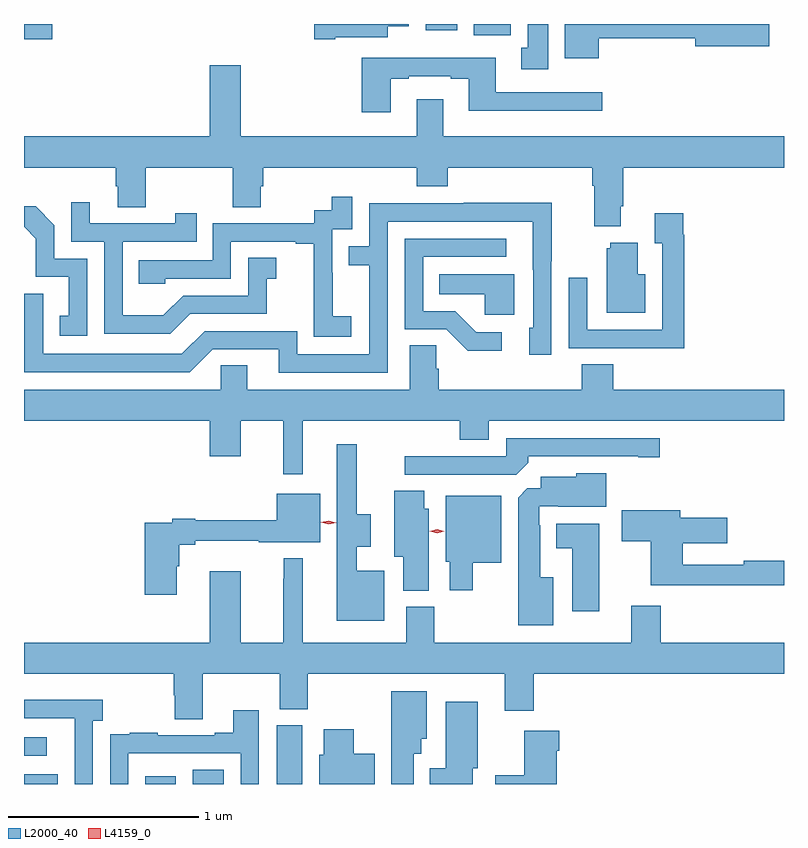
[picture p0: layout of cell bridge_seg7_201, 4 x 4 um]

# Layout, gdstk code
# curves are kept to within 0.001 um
import gdstk
lib = gdstk.Library(unit=1e-6, precision=1e-09)
def R(c, l, rs):  # rectangles x0, y0, x1, y1
    for r in rs: c.add(gdstk.rectangle(r[:2], r[2:], *l))
def P(c, l, *ps):  # polygons
    for p in ps: c.add(gdstk.Polygon(p, *l))
L2000_40 = (2000, 40)
L4159_0 = (4159, 0)

bridge_seg7_201 = lib.new_cell('bridge_seg7_201')
R(bridge_seg7_201, L2000_40, [(116.079,1054.648,116.257,1054.699), (116.717,1054.648,116.878,1054.69), (116.966,1054.648,117.13,1054.724), (117.41,1054.648,117.544,1054.956), (116.079,1054.797,116.2,1054.893), (116.079,1058.567,116.227,1058.648), (118.445,1058.588,118.642,1058.648), (118.193,1058.616,118.36,1058.648)])
P(bridge_seg7_201, L2000_40, [(119.104,1058.572),(119.612,1058.572),(119.612,1058.53),(120.001,1058.53),(120.001,1058.648),(118.925,1058.648),(118.925,1058.468),(119.104,1058.468)],
  [(118.837,1058.648),(118.73,1058.648),(118.73,1058.522),(118.697,1058.522),(118.697,1058.409),(118.837,1058.409)],
  [(117.718,1058.579),(117.994,1058.579),(117.994,1058.636),(118.105,1058.636),(118.105,1058.648),(117.606,1058.648),(117.606,1058.567),(117.718,1058.567)],
  [(118.009,1058.361),(118.105,1058.361),(118.105,1058.373),(118.325,1058.373),(118.325,1058.361),(118.421,1058.361),(118.421,1058.192),(119.122,1058.192),(119.122,1058.289),(118.561,1058.289),(118.561,1058.47),(117.857,1058.47),(117.857,1058.184),(118.009,1058.184)],
  [(119.221,1057.69),(119.234,1057.69),(119.234,1057.892),(120.079,1057.892),(120.079,1058.056),(118.285,1058.056),(118.285,1058.251),(118.145,1058.251),(118.145,1058.056),(117.22,1058.056),(117.22,1058.431),(117.056,1058.431),(117.056,1058.056),(116.079,1058.056),(116.079,1057.892),(116.561,1057.892),(116.561,1057.794),(116.573,1057.794),(116.573,1057.684),(116.721,1057.684),(116.721,1057.892),(117.178,1057.892),(117.178,1057.684),(117.325,1057.684),(117.325,1057.794),(117.338,1057.794),(117.338,1057.892),(118.145,1057.892),(118.145,1057.793),(118.31,1057.793),(118.31,1057.892),(119.069,1057.892),(119.069,1057.796),(119.081,1057.796),(119.081,1057.583),(119.221,1057.583)],
  [(117.802,1057.111),(117.704,1057.111),(117.704,1057.34),(117.702,1057.34),(117.702,1057.569),(117.807,1057.569),(117.807,1057.738),(117.699,1057.738),(117.699,1057.668),(117.606,1057.668),(117.606,1057.599),(117.072,1057.599),(117.072,1057.404),(116.683,1057.404),(116.683,1057.281),(116.823,1057.281),(116.823,1057.308),(117.168,1057.308),(117.168,1057.503),(117.509,1057.503),(117.509,1057.491),(117.605,1057.491),(117.605,1057.207),(117.604,1057.207),(117.604,1057.001),(117.802,1057.001)],
  [(116.953,1057.122),(117.357,1057.122),(117.357,1057.307),(117.406,1057.307),(117.406,1057.417),(117.258,1057.417),(117.258,1057.218),(116.916,1057.218),(116.812,1057.114),(116.598,1057.114),(116.598,1057.503),(116.987,1057.503),(116.987,1057.651),(116.876,1057.651),(116.876,1057.599),(116.425,1057.599),(116.425,1057.711),(116.328,1057.711),(116.328,1057.503),(116.502,1057.503),(116.502,1057.017),(116.848,1057.017)],
  [(117.993,1057.608),(118.757,1057.608),(118.758,1057.05),(118.739,1057.05),(118.739,1056.906),(118.854,1056.906),(118.854,1057.399),(118.857,1057.399),(118.857,1057.706),(118.393,1057.706),(118.393,1057.704),(117.897,1057.704),(117.897,1057.479),(117.787,1057.479),(117.787,1057.378),(117.897,1057.378),(117.897,1056.909),(117.516,1056.909),(117.516,1057.032),(117.03,1057.032),(116.91,1056.912),(116.181,1056.912),(116.181,1057.227),(116.079,1057.227),(116.079,1056.816),(116.952,1056.816),(117.072,1056.936),(117.419,1056.936),(117.419,1056.813),(117.993,1056.813)],
  [(116.412,1057.413),(116.238,1057.413),(116.238,1057.59),(116.14,1057.688),(116.079,1057.688),(116.079,1057.581),(116.142,1057.518),(116.142,1057.317),(116.315,1057.317),(116.315,1057.113),(116.266,1057.113),(116.266,1057.008),(116.412,1057.008)],
  [(119.555,1057.538),(119.548,1057.538),(119.548,1057.651),(119.399,1057.651),(119.399,1057.495),(119.439,1057.495),(119.439,1057.038),(119.043,1057.038),(119.043,1057.312),(118.947,1057.312),(118.947,1056.942),(119.263,1056.942),(119.263,1056.941),(119.555,1056.941)],
  [(118.594,1057.026),(118.459,1057.026),(118.348,1057.137),(118.179,1057.137),(118.179,1057.422),(118.618,1057.422),(118.618,1057.518),(118.083,1057.518),(118.083,1057.041),(118.302,1057.041),(118.415,1056.929),(118.594,1056.929)],
  [(119.35,1057.33),(119.308,1057.33),(119.308,1057.498),(119.165,1057.498),(119.165,1057.467),(119.147,1057.467),(119.147,1057.127),(119.35,1057.127)],
  [(118.66,1057.33),(118.264,1057.33),(118.264,1057.226),(118.503,1057.226),(118.503,1057.118),(118.66,1057.118)],
  [(117.547,1056.56),(118.373,1056.56),(118.373,1056.461),(118.525,1056.461),(118.525,1056.56),(120.079,1056.56),(120.079,1056.724),(119.18,1056.724),(119.18,1056.857),(119.015,1056.857),(119.015,1056.724),(118.262,1056.724),(118.262,1056.833),(118.248,1056.833),(118.248,1056.956),(118.109,1056.956),(118.109,1056.724),(117.253,1056.724),(117.253,1056.851),(117.114,1056.851),(117.114,1056.724),(116.079,1056.724),(116.079,1056.56),(117.056,1056.56),(117.056,1056.372),(117.22,1056.372),(117.22,1056.56),(117.443,1056.56),(117.443,1056.279),(117.547,1056.279)],
  [(118.733,1056.338),(118.733,1056.372),(119.312,1056.372),(119.312,1056.367),(119.425,1056.367),(119.425,1056.468),(118.617,1056.468),(118.617,1056.372),(118.083,1056.372),(118.083,1056.276),(118.671,1056.276)],
  [(117.976,1055.77),(117.829,1055.77),(117.829,1055.897),(117.904,1055.897),(117.904,1056.068),(117.829,1056.068),(117.829,1056.436),(117.725,1056.436),(117.725,1055.507),(117.976,1055.507)],
  [(118.864,1055.737),(118.795,1055.737),(118.795,1056.011),(118.791,1056.011),(118.791,1056.111),(118.891,1056.111),(118.891,1056.107),(119.143,1056.107),(119.143,1056.283),(118.986,1056.283),(118.986,1056.265),(118.799,1056.265),(118.799,1056.204),(118.728,1056.204),(118.679,1056.155),(118.679,1055.483),(118.864,1055.483)],
  [(118.21,1056.096),(118.186,1056.096),(118.186,1056.191),(118.028,1056.191),(118.028,1055.843),(118.076,1055.843),(118.076,1055.665),(118.21,1055.665)],
  [(116.884,1055.793),(116.897,1055.793),(116.897,1055.908),(116.98,1055.908),(116.98,1055.927),(117.314,1055.927),(117.314,1055.921),(117.637,1055.921),(117.637,1056.175),(117.41,1056.175),(117.41,1056.037),(116.98,1056.037),(116.98,1056.044),(116.86,1056.044),(116.86,1056.024),(116.714,1056.024),(116.714,1055.643),(116.884,1055.643)],
  [(118.441,1055.813),(118.591,1055.813),(118.591,1056.166),(118.298,1056.166),(118.298,1055.817),(118.319,1055.817),(118.319,1055.667),(118.441,1055.667)],
  [(120.079,1055.822),(119.866,1055.822),(119.866,1055.802),(119.546,1055.802),(119.546,1055.915),(119.779,1055.915),(119.779,1056.05),(119.533,1056.05),(119.533,1056.088),(119.226,1056.088),(119.226,1055.926),(119.378,1055.926),(119.378,1055.694),(120.079,1055.694)],
  [(119.107,1056.019),(118.88,1056.019),(118.88,1055.888),(118.964,1055.888),(118.964,1055.556),(119.107,1055.556)],
  [(117.019,1055.228),(117.425,1055.228),(117.425,1055.041),(117.573,1055.041),(117.573,1055.228),(118.61,1055.228),(118.61,1055.034),(118.763,1055.034),(118.763,1055.228),(120.079,1055.228),(120.079,1055.392),(119.429,1055.392),(119.429,1055.587),(119.276,1055.587),(119.276,1055.392),(118.239,1055.392),(118.239,1055.58),(118.091,1055.58),(118.091,1055.392),(117.547,1055.392),(117.547,1055.836),(117.445,1055.836),(117.445,1055.729),(117.443,1055.729),(117.443,1055.392),(117.22,1055.392),(117.22,1055.767),(117.056,1055.767),(117.056,1055.392),(116.079,1055.392),(116.079,1055.228),(116.867,1055.228),(116.867,1055.115),(116.872,1055.115),(116.872,1054.99),(117.019,1054.99)],
  [(118.129,1054.806),(118.171,1054.806),(118.171,1054.887),(118.198,1054.887),(118.198,1055.137),(118.013,1055.137),(118.013,1054.648),(118.129,1054.648)],
  [(116.442,1054.982),(116.494,1054.982),(116.494,1055.092),(116.079,1055.092),(116.079,1054.995),(116.345,1054.995),(116.345,1054.795),(116.346,1054.795),(116.346,1054.648),(116.442,1054.648)],
  [(118.441,1054.731),(118.468,1054.731),(118.468,1055.08),(118.298,1055.08),(118.298,1054.731),(118.214,1054.731),(118.214,1054.648),(118.441,1054.648)],
  [(116.628,1054.809),(117.219,1054.809),(117.219,1054.648),(117.315,1054.648),(117.315,1055.035),(117.179,1055.035),(117.179,1054.918),(117.083,1054.918),(117.083,1054.905),(116.783,1054.905),(116.783,1054.918),(116.635,1054.918),(116.635,1054.911),(116.533,1054.911),(116.533,1054.802),(116.532,1054.802),(116.532,1054.648),(116.628,1054.648)],
  [(117.925,1054.807),(117.814,1054.807),(117.814,1054.936),(117.656,1054.936),(117.656,1054.803),(117.632,1054.803),(117.632,1054.648),(117.925,1054.648)],
  [(118.882,1054.823),(118.895,1054.823),(118.895,1054.927),(118.712,1054.927),(118.712,1054.695),(118.56,1054.695),(118.56,1054.648),(118.882,1054.648)])
P(bridge_seg7_201, L4159_0, [(118.253,1055.968),(118.214,1055.978),(118.214,1055.979),(118.214,1055.979),(118.253,1055.988),(118.291,1055.978),(118.291,1055.977),(118.291,1055.977)],
  [(117.682,1056.014),(117.641,1056.025),(117.641,1056.026),(117.641,1056.026),(117.683,1056.034),(117.723,1056.023),(117.723,1056.022),(117.723,1056.022)])

lib.write_gds('bridge_seg7_201.gds')
